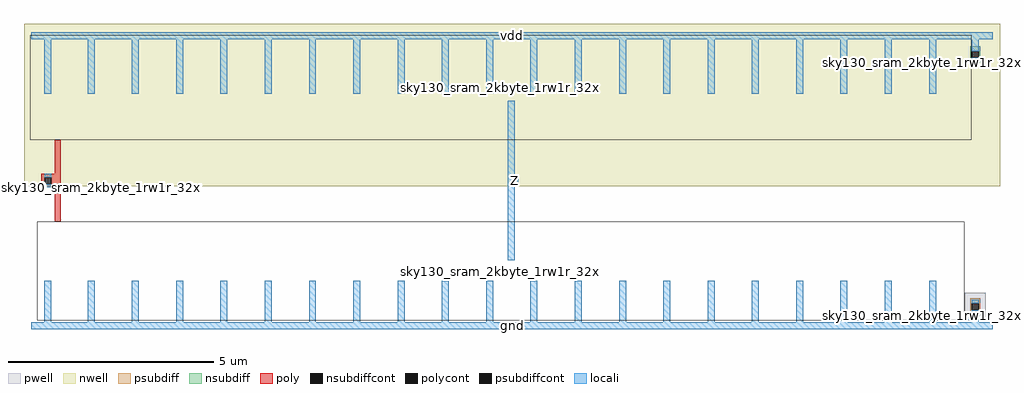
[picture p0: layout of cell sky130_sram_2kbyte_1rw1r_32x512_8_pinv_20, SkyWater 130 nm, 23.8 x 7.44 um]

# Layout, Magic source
magic
tech sky130A
magscale 1 2
<< nwell >>
rect -36 679 4724 1471
<< pwell >>
rect 4552 25 4654 159
<< psubdiff >>
rect 4578 109 4628 133
rect 4578 75 4586 109
rect 4620 75 4628 109
rect 4578 51 4628 75
<< nsubdiff >>
rect 4578 1339 4628 1363
rect 4578 1305 4586 1339
rect 4620 1305 4628 1339
rect 4578 1281 4628 1305
<< psubdiffcont >>
rect 4586 75 4620 109
<< nsubdiffcont >>
rect 4586 1305 4620 1339
<< poly >>
rect 114 740 144 907
rect 48 724 144 740
rect 48 690 64 724
rect 98 690 144 724
rect 48 674 144 690
rect 114 507 144 674
<< polycont >>
rect 64 690 98 724
<< locali >>
rect 0 1397 4688 1431
rect 62 1130 96 1397
rect 274 1130 308 1397
rect 490 1130 524 1397
rect 706 1130 740 1397
rect 922 1130 956 1397
rect 1138 1130 1172 1397
rect 1354 1130 1388 1397
rect 1570 1130 1604 1397
rect 1786 1130 1820 1397
rect 2002 1130 2036 1397
rect 2218 1130 2252 1397
rect 2434 1130 2468 1397
rect 2650 1130 2684 1397
rect 2866 1130 2900 1397
rect 3082 1130 3116 1397
rect 3298 1130 3332 1397
rect 3514 1130 3548 1397
rect 3730 1130 3764 1397
rect 3946 1130 3980 1397
rect 4162 1130 4196 1397
rect 4378 1130 4412 1397
rect 4586 1339 4620 1397
rect 4586 1289 4620 1305
rect 64 724 98 740
rect 64 674 98 690
rect 2324 724 2358 1096
rect 2324 690 2375 724
rect 2324 318 2358 690
rect 62 17 96 218
rect 274 17 308 218
rect 490 17 524 218
rect 706 17 740 218
rect 922 17 956 218
rect 1138 17 1172 218
rect 1354 17 1388 218
rect 1570 17 1604 218
rect 1786 17 1820 218
rect 2002 17 2036 218
rect 2218 17 2252 218
rect 2434 17 2468 218
rect 2650 17 2684 218
rect 2866 17 2900 218
rect 3082 17 3116 218
rect 3298 17 3332 218
rect 3514 17 3548 218
rect 3730 17 3764 218
rect 3946 17 3980 218
rect 4162 17 4196 218
rect 4378 17 4412 218
rect 4586 109 4620 125
rect 4586 17 4620 75
rect 0 -17 4688 17
use sky130_sram_2kbyte_1rw1r_32x512_8_contact_16  sky130_sram_2kbyte_1rw1r_32x512_8_contact_16_0
transform 1 0 48 0 1 674
box 0 0 1 1
use sky130_sram_2kbyte_1rw1r_32x512_8_contact_29  sky130_sram_2kbyte_1rw1r_32x512_8_contact_29_0
transform 1 0 4578 0 1 51
box 0 0 1 1
use sky130_sram_2kbyte_1rw1r_32x512_8_contact_28  sky130_sram_2kbyte_1rw1r_32x512_8_contact_28_0
transform 1 0 4578 0 1 1281
box 0 0 1 1
use sky130_sram_2kbyte_1rw1r_32x512_8_nmos_m41_w2_000_sli_dli_da_p  sky130_sram_2kbyte_1rw1r_32x512_8_nmos_m41_w2_000_sli_dli_da_p_0
transform 1 0 54 0 1 51
box -26 -26 4496 456
use sky130_sram_2kbyte_1rw1r_32x512_8_pmos_m41_w2_000_sli_dli_da_p  sky130_sram_2kbyte_1rw1r_32x512_8_pmos_m41_w2_000_sli_dli_da_p_0
transform 1 0 54 0 1 963
box -59 -56 4529 454
<< labels >>
rlabel locali s 81 707 81 707 4 A
port 1 nsew
rlabel locali s 2358 707 2358 707 4 Z
port 2 nsew
rlabel locali s 2344 0 2344 0 4 gnd
port 3 nsew
rlabel locali s 2344 1414 2344 1414 4 vdd
port 4 nsew
<< properties >>
string FIXED_BBOX 0 0 4688 1414
string GDS_FILE $PDKPATH/libs.ref/sky130_sram_macros/gds/sky130_sram_2kbyte_1rw1r_32x512_8.gds
string GDS_END 357800
string GDS_START 353370
<< end >>
